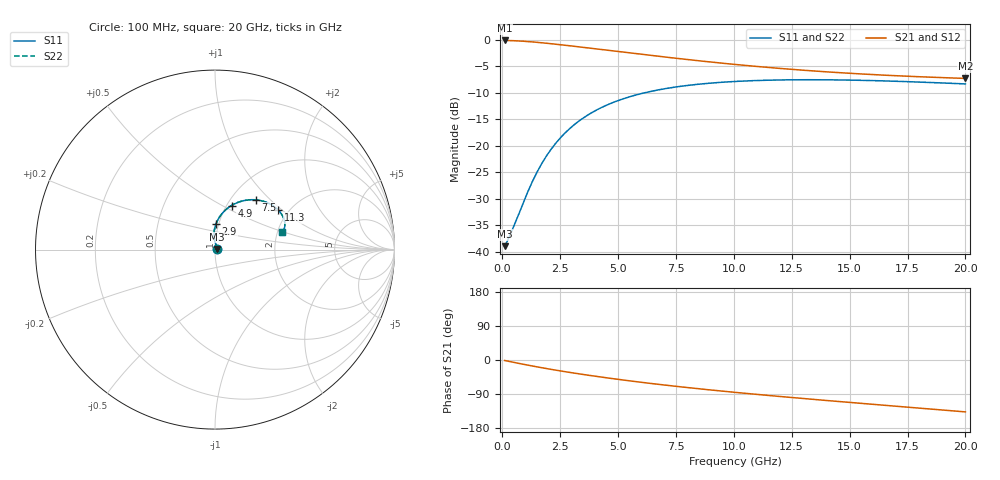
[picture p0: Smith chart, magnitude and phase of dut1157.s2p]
! Touchstone file exported from HFSS 2024.1.0
!  File:  C:/UserFiles/LocalFiles/RDL_TSV_Batchsim/temp_RDL_TSV_1157_1780119731.aedt
!  Generated:  01:57:09 PM May 30, 2026
!  Design:  RDL_TSV
!  Project:  temp_RDL_TSV_1157_1780119731
!  Setup:  Setup1
!  Solution:  Sweep
! Variables:
!  dtsv = 8.06um
!  hbump = 3um
!  htsv = 65.4um
!  ldown = 344.37um
!  lrdl = 203.47um
!  p = 40
!  p1 = 59.5um
!  rhole = 10um
!  subl = 1846.99um
!  t = 450um
!  tdown = 3.26um
!  trdl = 4.43um
!  viad = 10um
!  wdown = 20.79um
!  wrdl = 14.45um
!  xbump = 18um
# GHz S MA R 50.000000
! Terminal data exported
! Port[1] = TM1_1_T1
! Port[2] = TM1_4_T1
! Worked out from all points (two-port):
!   200 points, 100 MHz to 20 GHz, reference 50 ohm
!   highest |S21| = -0.10 dB at 100 MHz (marker M1); lowest = -7.3 dB at 20 GHz (marker M2)
!   |S21| within 3 dB of the highest: start of sweep to 6.768 GHz
!   lowest |S11| = -39.0 dB at 100 MHz (marker M3), VSWR 1.02, Z = 51.1 + j0.314 ohm
!   |S11| at or under -10 dB: start of sweep to 6.137 GHz
!   |S22| runs from -39.0 to -7.5 dB; largest |S21 - S12| = 1.1e-14
!   S11 on the Smith chart (normalised r, x): 100 MHz: 1.02, +0.01; 2.9 GHz: 0.97, +0.29; 4.9 GHz: 1.05, +0.56; 7.5 GHz: 1.30, +0.83; 11.3 GHz: 1.76, +0.94; 20 GHz: 2.11, +0.48
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0.1  0.01125 15.9  0.9889 -1.3  0.9889 -1.3  0.01125 15.9
! Gamma 0 0 0 0
! Port Impedance 50 0 50 0
0.2  0.01235 29.3  0.988 -2.6  0.988 -2.6  0.01235 29.3
0.4  0.01549 49.4  0.9851 -5.1  0.9851 -5.1  0.01549 49.4
0.8  0.02531 76.0  0.9756 -10.0  0.9756 -10.0  0.02531 76.0
1.2  0.04111 89.0  0.962 -14.7  0.962 -14.7  0.04111 89.0
1.6  0.06185 93.5  0.9453 -19.3  0.9453 -19.3  0.06185 93.5
1.9  0.07962 93.8  0.9314 -22.5  0.9314 -22.5  0.07962 93.8
2.2  0.09856 92.7  0.9168 -25.7  0.9168 -25.7  0.09857 92.7
2.5  0.1181 90.8  0.9018 -28.7  0.9018 -28.7  0.1182 90.9
2.9  0.1445 87.6  0.8815 -32.7  0.8815 -32.7  0.1445 87.6
3.5  0.1831 82.2  0.8511 -38.3  0.8511 -38.3  0.1831 82.2
4.2  0.225 75.7  0.8162 -44.4  0.8162 -44.4  0.225 75.7
4.9  0.2623 69.5  0.7825 -50.3  0.7825 -50.3  0.2623 69.5
5.8  0.303 62.1  0.7413 -57.3  0.7413 -57.3  0.303 62.1
6.8  0.3392 54.9  0.6987 -64.6  0.6987 -64.6  0.3392 54.9
7.5  0.3594 50.4  0.6712 -69.5  0.6712 -69.5  0.3594 50.4
8.8  0.3875 43.1  0.625 -77.9  0.625 -77.9  0.3875 43.1
10.1  0.4056 37.0  0.5853 -85.7  0.5853 -85.7  0.4056 37.0
11.3  0.4154 32.2  0.554 -92.5  0.554 -92.5  0.4155 32.2
13.4  0.4207 25.4  0.5099 -103.7  0.5099 -103.7  0.4208 25.4
16.7  0.4088 18.1  0.4623 -120.5  0.4623 -120.5  0.4089 18.1
20  0.384 14.8  0.433 -136.9  0.433 -136.9  0.3841 14.8
